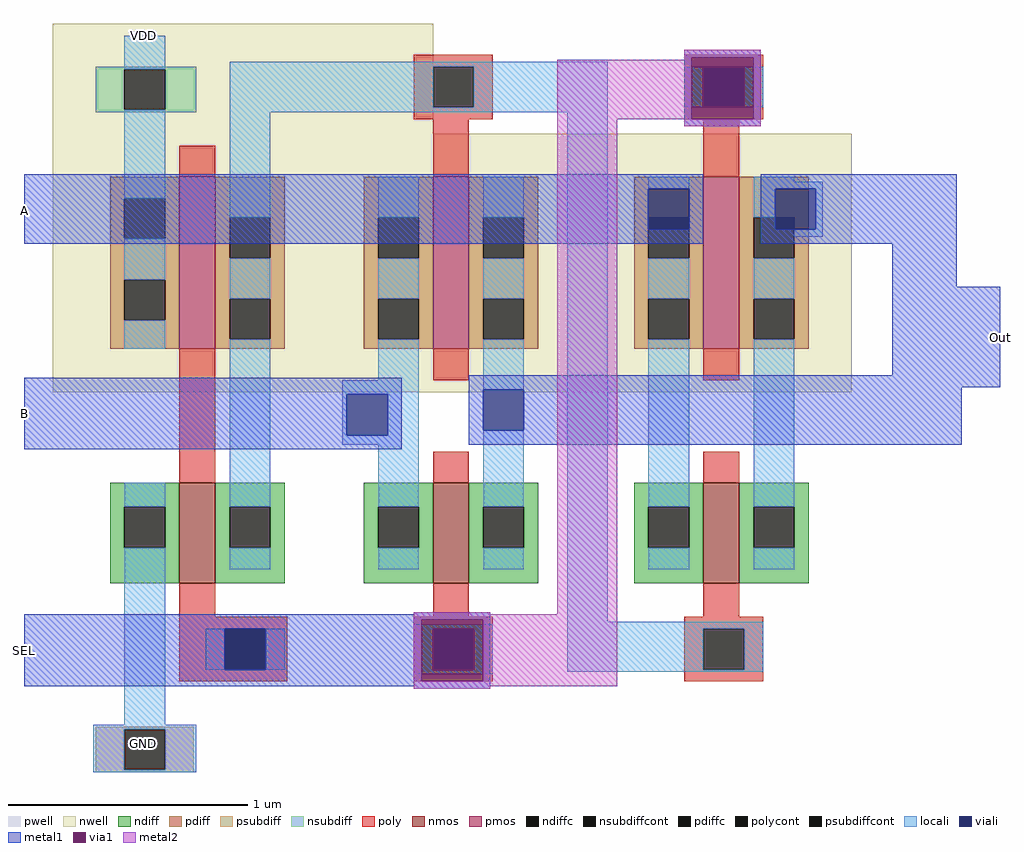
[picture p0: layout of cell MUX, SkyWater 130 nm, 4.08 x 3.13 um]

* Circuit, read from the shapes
.subckt MUX SEL A B Out VDD GND
XM1 n1 SEL GND GND sky130_fd_pr__nfet_01v8 w=0.42 l=0.15
XM2 Out SEL B GND sky130_fd_pr__nfet_01v8 w=0.42 l=0.15
XM3 Out n1 A GND sky130_fd_pr__nfet_01v8 w=0.42 l=0.15
XM4 n1 SEL VDD VDD sky130_fd_pr__pfet_01v8 w=0.72 l=0.15
XM5 Out n1 B VDD sky130_fd_pr__pfet_01v8 w=0.72 l=0.15
XM6 Out SEL A VDD sky130_fd_pr__pfet_01v8 w=0.72 l=0.15
.ends

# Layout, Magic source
magic
tech sky130A
<< nwell >>
rect 12 252 171 298
rect 12 144 346 252
<< pwell >>
rect 30 -15 71 4
<< nmos >>
rect 65 64 80 106
rect 171 64 186 106
rect 284 64 299 106
<< pmos >>
rect 65 162 80 234
rect 171 162 186 234
rect 284 162 299 234
<< ndiff >>
rect 36 96 65 106
rect 36 79 42 96
rect 59 79 65 96
rect 36 64 65 79
rect 80 96 109 106
rect 80 79 86 96
rect 103 79 109 96
rect 80 64 109 79
rect 142 96 171 106
rect 142 79 148 96
rect 165 79 171 96
rect 142 64 171 79
rect 186 96 215 106
rect 186 79 192 96
rect 209 79 215 96
rect 186 64 215 79
rect 255 96 284 106
rect 255 79 261 96
rect 278 79 284 96
rect 255 64 284 79
rect 299 96 328 106
rect 299 79 305 96
rect 322 79 328 96
rect 299 64 328 79
<< pdiff >>
rect 36 225 65 234
rect 36 208 42 225
rect 59 208 65 225
rect 36 191 65 208
rect 36 174 42 191
rect 59 174 65 191
rect 36 162 65 174
rect 80 217 109 234
rect 80 200 86 217
rect 103 200 109 217
rect 80 183 109 200
rect 80 166 86 183
rect 103 166 109 183
rect 80 162 109 166
rect 142 217 171 234
rect 142 200 148 217
rect 165 200 171 217
rect 142 183 171 200
rect 142 166 148 183
rect 165 166 171 183
rect 142 162 171 166
rect 186 217 215 234
rect 186 200 192 217
rect 209 200 215 217
rect 186 183 215 200
rect 186 166 192 183
rect 209 166 215 183
rect 186 162 215 166
rect 255 217 284 234
rect 255 200 261 217
rect 278 200 284 217
rect 255 183 284 200
rect 255 166 261 183
rect 278 166 284 183
rect 255 162 284 166
rect 299 217 328 234
rect 299 200 305 217
rect 322 200 328 217
rect 299 183 328 200
rect 299 166 305 183
rect 322 166 328 183
rect 299 162 328 166
<< ndiffc >>
rect 42 79 59 96
rect 86 79 103 96
rect 148 79 165 96
rect 192 79 209 96
rect 261 79 278 96
rect 305 79 322 96
<< pdiffc >>
rect 42 208 59 225
rect 42 174 59 191
rect 86 200 103 217
rect 86 166 103 183
rect 148 200 165 217
rect 148 166 165 183
rect 192 200 209 217
rect 192 166 209 183
rect 261 200 278 217
rect 261 166 278 183
rect 305 200 322 217
rect 305 166 322 183
<< psubdiff >>
rect 30 3 71 4
rect 30 -14 42 3
rect 59 -14 71 3
rect 30 -15 71 -14
<< nsubdiff >>
rect 30 279 72 280
rect 30 262 42 279
rect 59 262 72 279
rect 30 261 72 262
<< psubdiffcont >>
rect 42 -14 59 3
<< nsubdiffcont >>
rect 42 262 59 279
<< poly >>
rect 163 280 196 285
rect 163 263 171 280
rect 188 263 196 280
rect 163 258 196 263
rect 276 280 309 285
rect 276 263 284 280
rect 301 263 309 280
rect 276 258 309 263
rect 65 234 80 247
rect 171 234 186 258
rect 284 234 299 258
rect 65 106 80 162
rect 171 149 186 162
rect 284 149 299 162
rect 171 106 186 119
rect 284 106 299 119
rect 65 50 80 64
rect 171 50 186 64
rect 284 50 299 64
rect 65 45 110 50
rect 65 28 84 45
rect 101 28 110 45
rect 65 23 110 28
rect 163 45 196 50
rect 163 28 171 45
rect 188 28 196 45
rect 163 23 196 28
rect 276 45 309 50
rect 276 28 284 45
rect 301 28 309 45
rect 276 23 309 28
<< polycont >>
rect 171 263 188 280
rect 284 263 301 280
rect 84 28 101 45
rect 171 28 188 45
rect 284 28 301 45
<< locali >>
rect 42 279 59 293
rect 42 225 59 262
rect 42 191 59 208
rect 42 162 59 174
rect 86 280 244 282
rect 86 263 171 280
rect 188 263 244 280
rect 276 263 284 280
rect 301 263 309 280
rect 86 261 244 263
rect 86 217 103 261
rect 86 183 103 200
rect 42 96 59 106
rect 42 5 59 79
rect 86 96 103 166
rect 148 217 165 234
rect 148 183 165 200
rect 148 149 165 166
rect 133 143 165 149
rect 133 126 135 143
rect 152 126 165 143
rect 133 122 165 126
rect 86 70 103 79
rect 148 96 165 122
rect 148 70 165 79
rect 192 217 209 234
rect 192 183 209 200
rect 192 145 209 166
rect 192 96 209 128
rect 192 70 209 79
rect 227 48 244 261
rect 261 229 278 234
rect 261 183 278 200
rect 261 96 278 166
rect 261 70 278 79
rect 305 232 322 234
rect 305 229 334 232
rect 305 217 314 229
rect 331 212 334 229
rect 322 209 334 212
rect 305 183 322 200
rect 305 96 322 166
rect 305 70 322 79
rect 163 45 196 47
rect 76 28 84 45
rect 101 28 109 45
rect 163 28 171 45
rect 188 28 196 45
rect 163 26 196 28
rect 227 45 309 48
rect 227 28 284 45
rect 301 28 309 45
rect 227 27 309 28
rect 29 3 72 5
rect 29 -14 42 3
rect 59 -14 72 3
rect 29 -15 72 -14
<< viali >>
rect 284 263 301 280
rect 135 126 152 143
rect 192 128 209 145
rect 261 217 278 229
rect 261 212 278 217
rect 314 217 331 229
rect 314 212 322 217
rect 322 212 331 217
rect 84 28 101 45
rect 171 28 188 45
<< metal1 >>
rect 276 284 308 287
rect 276 258 279 284
rect 305 258 308 284
rect 276 255 308 258
rect 0 229 284 235
rect 0 212 261 229
rect 278 212 284 229
rect 0 206 284 212
rect 308 229 390 235
rect 308 212 314 229
rect 331 212 390 229
rect 308 206 390 212
rect 363 188 390 206
rect 363 151 408 188
rect 0 143 158 150
rect 0 126 135 143
rect 152 126 158 143
rect 0 120 158 126
rect 186 146 408 151
rect 186 145 392 146
rect 186 128 192 145
rect 209 128 392 145
rect 186 122 392 128
rect 163 51 195 52
rect 0 49 195 51
rect 0 45 166 49
rect 0 28 84 45
rect 101 28 166 45
rect 0 23 166 28
rect 192 23 195 49
rect 0 21 195 23
rect 163 20 195 21
<< via1 >>
rect 279 280 305 284
rect 279 263 284 280
rect 284 263 301 280
rect 301 263 305 280
rect 279 258 305 263
rect 166 45 192 49
rect 166 28 171 45
rect 171 28 188 45
rect 188 28 192 45
rect 166 23 192 28
<< metal2 >>
rect 276 284 308 287
rect 276 283 279 284
rect 223 258 279 283
rect 305 258 308 284
rect 163 51 195 52
rect 223 51 248 258
rect 276 255 308 258
rect 163 49 248 51
rect 163 23 166 49
rect 192 23 248 49
rect 163 21 248 23
rect 163 20 195 21
<< labels >>
rlabel metal1 s 0 36 0 36 4 SEL
port 1 nsew
rlabel metal1 s 0 220 0 220 4 A
port 2 nsew
rlabel metal1 s 0 135 0 135 4 B
port 3 nsew
rlabel metal1 s 408 167 408 167 4 Out
port 4 nsew
rlabel locali s 50 293 50 293 4 VDD
port 5 nsew
rlabel locali s 50 -3 50 -3 4 GND
port 6 nsew
<< end >>
